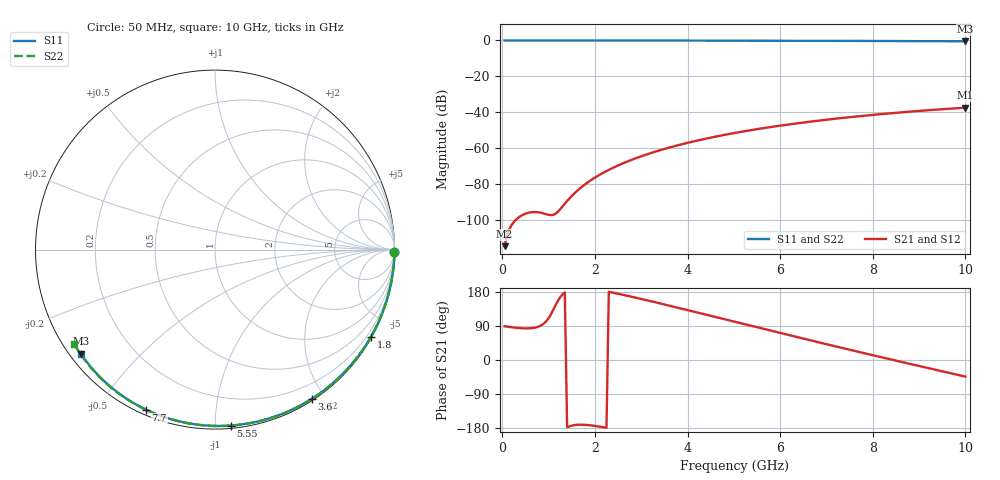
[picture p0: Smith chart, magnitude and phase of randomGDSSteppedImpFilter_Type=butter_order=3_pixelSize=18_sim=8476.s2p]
! freq	dB(S11)	phase(S11)	dB(S12)	phase(S12)
!  dB(S21)	phase(S21)	dB(S22)	phase(S22)
!S-par simulation data
#  GHz  S  DB  R 50
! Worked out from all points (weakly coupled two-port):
!   200 points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, 50 MHz to 10 GHz, reference 50 ohm
!   highest |S21| = -37.52 dB at 10 GHz (marker M1); lowest = -114.9 dB at 50 MHz (marker M2)
!   lowest |S11| = -0.5 dB at 10 GHz (marker M3), VSWR 36.16, Z = 1.54 - j17.1 ohm
!   |S11| at or under -10 dB: nowhere
!   |S22| runs from -0.5 to 0.0 dB; largest |S21 - S12| = 0
!   S11 on the Smith chart (normalised r, x): 50 MHz: open; 1.8 GHz: 0.03, -3.84; 3.6 GHz: 0.02, -1.84; 5.55 GHz: 0.02, -1.09; 7.7 GHz: 0.02, -0.66; 10 GHz: 0.03, -0.34
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0.05  -0.00 -0.8  -114.90 89.1  -114.90 89.1  -0.00 -0.9
0.45  -0.01 -7.4  -97.30 83.6  -97.30 83.6  -0.01 -7.6
0.9  -0.02 -14.7  -96.66 96.5  -96.66 96.5  -0.02 -15.2
1.3  -0.03 -21.2  -92.75 173.0  -92.75 173.0  -0.03 -21.9
1.75  -0.04 -28.4  -81.08 -170.9  -81.08 -170.9  -0.04 -29.3
1.8  -0.04 -29.2  -80.10 -171.2  -80.10 -171.2  -0.04 -30.1
2  -0.04 -32.3  -76.60 -173.9  -76.60 -173.9  -0.04 -33.4
2.15  -0.04 -34.7  -74.33 -176.8  -74.33 -176.8  -0.05 -35.8
2.5  -0.05 -40.2  -69.82 174.9  -69.82 174.9  -0.05 -41.4
2.9  -0.06 -46.3  -65.63 164.0  -65.63 164.0  -0.06 -47.8
3.4  -0.07 -53.9  -61.35 149.5  -61.35 149.5  -0.07 -55.6
3.6  -0.08 -56.9  -59.86 143.6  -59.86 143.6  -0.08 -58.7
3.9  -0.08 -61.4  -57.81 134.6  -57.81 134.6  -0.09 -63.3
4.3  -0.09 -67.2  -55.38 122.6  -55.38 122.6  -0.10 -69.3
5.05  -0.12 -77.9  -51.52 99.9  -51.52 99.9  -0.12 -80.3
5.55  -0.14 -84.9  -49.33 84.8  -49.33 84.8  -0.14 -87.4
6.1  -0.16 -92.4  -47.22 68.3  -47.22 68.3  -0.17 -95.1
6.7  -0.19 -100.4  -45.19 50.5  -45.19 50.5  -0.20 -103.2
7.7  -0.26 -113.3  -42.33 21.3  -42.33 21.3  -0.27 -116.5
8.35  -0.31 -121.6  -40.75 2.6  -40.75 2.6  -0.32 -125.0
9.2  -0.39 -132.2  -38.96 -21.5  -38.96 -21.5  -0.40 -135.9
10  -0.48 -142.3  -37.52 -43.8  -37.52 -43.8  -0.49 -146.2
